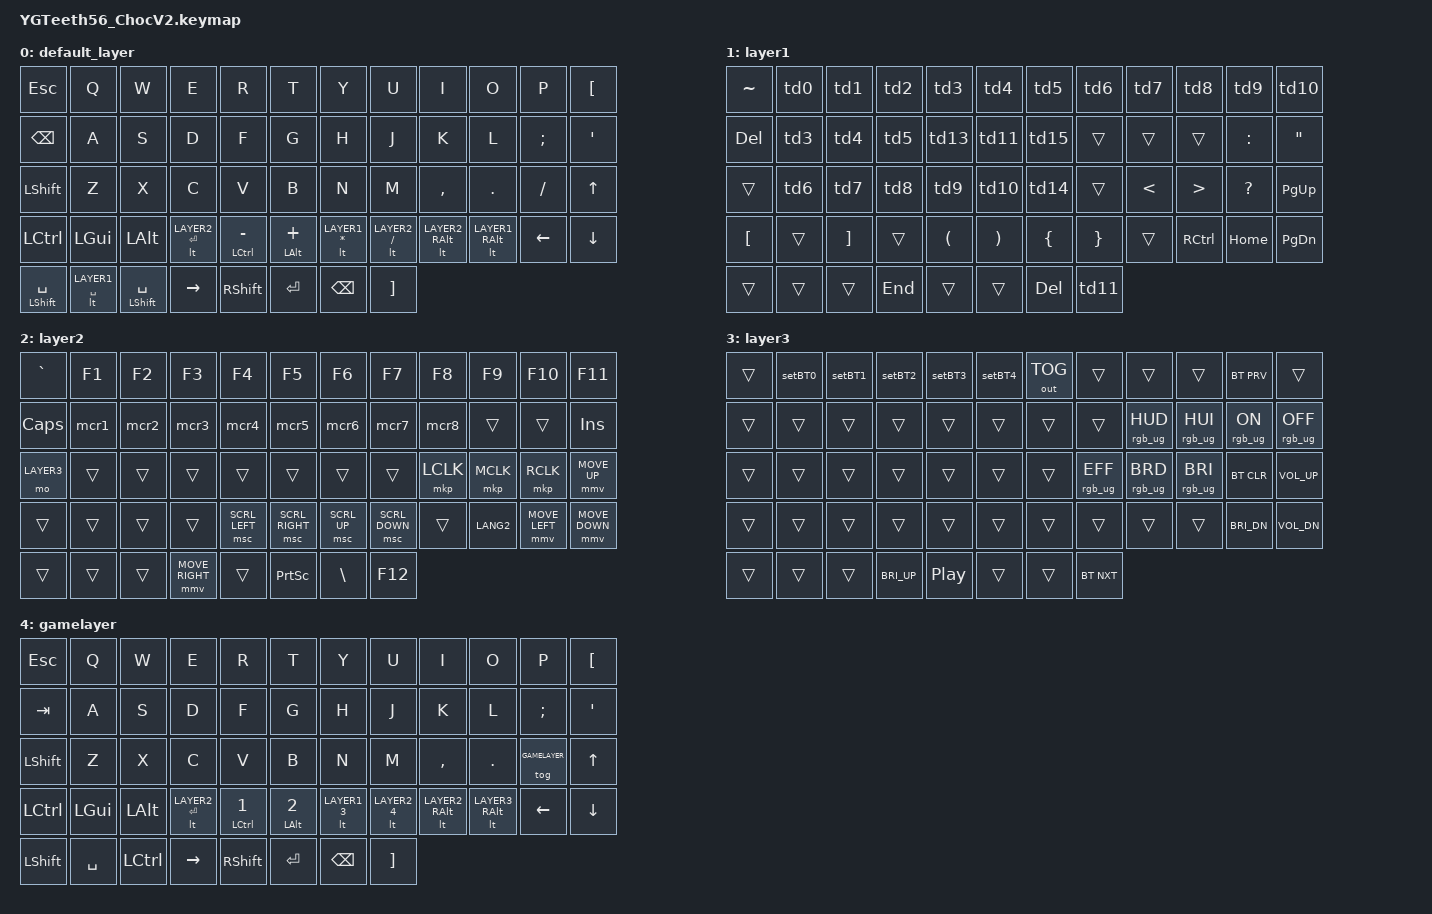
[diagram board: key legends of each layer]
/*
 * Copyright (c) 2020 The ZMK Contributors
 * SPDX-License-Identifier: MIT
pin matrix changed
 */

#include <behaviors.dtsi>
#include <dt-bindings/zmk/keys.h>
#include <dt-bindings/zmk/bt.h>
#include <dt-bindings/zmk/rgb.h>
#include <dt-bindings/zmk/outputs.h>
#include <dt-bindings/zmk/pointing.h>

#define DEFAULT_LAYER 0
#define LAYER1 1
#define LAYER2 2
#define LAYER3 3
#define GAMELAYER 4

#define ZMK_POINTING_DEFAULT_MOVE_VAL 1000  // default: 600
#define ZMK_POINTING_DEFAULT_SCRL_VAL 10    // default: 10

/ {

behaviors {
    lt: layer_tap {
        compatible = "zmk,behavior-hold-tap";
        quick-tap-ms = <185>;
        flavor = "balanced";
        };
};

behaviors {
        ht: hold_tap {
            compatible = "zmk,behavior-hold-tap";
            #binding-cells = <2>;
            tapping-term-ms = <200>;
            quick-tap-ms = <180>;
            require-prior-idle-ms = <150>;
            flavor = "balanced";
            bindings = <&kp>, <&kp>;
        };
    };

behaviors {
        htQck: hold_tap {
            compatible = "zmk,behavior-hold-tap";
            #binding-cells = <2>;
            tapping-term-ms = <150>;
            quick-tap-ms = <200>;
            require-prior-idle-ms = <130>;
            flavor = "balanced";
            bindings = <&kp>, <&kp>;
        };
    };

 behaviors {
        bhm: balanced_homerow_mods {
            compatible = "zmk,behavior-hold-tap";
            #binding-cells = <2>;
            tapping-term-ms = <200>;
            quick-tap-ms = <180>;
            flavor = "balanced";
            bindings = <&kp>, <&kp>;
        };
    };

 behaviors {
        bhmQck: balanced_homerow_mods {
            compatible = "zmk,behavior-hold-tap";
            #binding-cells = <2>;
            tapping-term-ms = <150>;
            quick-tap-ms = <185>;
            flavor = "balanced";
            bindings = <&kp>, <&kp>;
        };
    };

behaviors {
        td0: tap_dance_0 {
            compatible = "zmk,behavior-tap-dance";
            #binding-cells = <0>;
            tapping-term-ms = <220>;
            bindings = <&kp N1>, <&kp EXCL>;
            };
       };

behaviors {
        td1: tap_dance_1 {
            compatible = "zmk,behavior-tap-dance";
            #binding-cells = <0>;
            tapping-term-ms = <220>;
            bindings = <&kp N2>, <&kp AT>;
            };
       };

behaviors {
        td2: tap_dance_2 {
            compatible = "zmk,behavior-tap-dance";
            #binding-cells = <0>;
            tapping-term-ms = <220>;
            bindings = <&kp N3>, <&kp HASH>;
            };
       };

behaviors {
        td3: tap_dance_3 {
            compatible = "zmk,behavior-tap-dance";
            #binding-cells = <0>;
            tapping-term-ms = <220>;
            bindings = <&kp N4>, <&kp DLLR>;
            };
       };

behaviors {
        td4: tap_dance_4 {
            compatible = "zmk,behavior-tap-dance";
            #binding-cells = <0>;
            tapping-term-ms = <220>;
            bindings = <&kp N5>, <&kp PRCNT>;
            };
       };

behaviors {
        td5: tap_dance_5 {
            compatible = "zmk,behavior-tap-dance";
            #binding-cells = <0>;
            tapping-term-ms = <220>;
            bindings = <&kp N6>, <&kp CARET>;
            };
       };

behaviors {
        td6: tap_dance_6 {
            compatible = "zmk,behavior-tap-dance";
            #binding-cells = <0>;
            tapping-term-ms = <220>;
            bindings = <&kp N7>, <&kp AMPS>;
            };
       };

behaviors {
        td7: tap_dance_7 {
            compatible = "zmk,behavior-tap-dance";
            #binding-cells = <0>;
            tapping-term-ms = <220>;
            bindings = <&kp N8>, <&kp STAR>;
            };
       };

behaviors {
        td8: tap_dance_8 {
            compatible = "zmk,behavior-tap-dance";
            #binding-cells = <0>;
            tapping-term-ms = <220>;
            bindings = <&kp N9>, <&kp LPAR>;
            };
       };

behaviors {
        td9: tap_dance_9 {
            compatible = "zmk,behavior-tap-dance";
            #binding-cells = <0>;
            tapping-term-ms = <220>;
            bindings = <&kp N0>, <&kp RPAR>;
            };
       };

behaviors {
        td10: tap_dance_10 {
            compatible = "zmk,behavior-tap-dance";
            #binding-cells = <0>;
            tapping-term-ms = <220>;
            bindings = <&kp MINUS>, <&kp UNDER>;
            };
       };
behaviors {
        td11: tap_dance_11 {
            compatible = "zmk,behavior-tap-dance";
            #binding-cells = <0>;
            tapping-term-ms = <220>;
            bindings = <&kp PLUS>, <&kp EQUAL>;
            };
       };

behaviors {
        td12: tap_dance_12 {
            compatible = "zmk,behavior-tap-dance";
            #binding-cells = <0>;
            tapping-term-ms = <220>;
            bindings = <&kp ESC>, <&kp TILDE>, <&kp GRAVE>;
            };
       };

behaviors {
        td13: tap_dance_13 {
            compatible = "zmk,behavior-tap-dance";
            #binding-cells = <0>;
            tapping-term-ms = <220>;
            bindings = <&kp DOT>, <&kp COMMA>;
            };
       };

behaviors {
        td14: tap_dance_14 {
            compatible = "zmk,behavior-tap-dance";
            #binding-cells = <0>;
            tapping-term-ms = <220>;
            bindings = <&kp MINUS>, <&kp FSLH>;
            };

       };
behaviors {
        td15: tap_dance_15 {
            compatible = "zmk,behavior-tap-dance";
            #binding-cells = <0>;
            tapping-term-ms = <220>;
            bindings = <&kp PLUS>, <&kp STAR>;
            };
       };

behaviors {
        td16: tap_dance_16 {
            compatible = "zmk,behavior-tap-dance";
            #binding-cells = <0>;
            tapping-term-ms = <220>;
            bindings = <&kp UNDER>, <&kp LPAR>;
            };
       };

behaviors {
        td17: tap_dance_17 {
            compatible = "zmk,behavior-tap-dance";
            #binding-cells = <0>;
            tapping-term-ms = <220>;
            bindings = <&kp EQUAL>, <&kp RPAR>;
            };
       };

/*
conditional_layers {
        compatible = "zmk,conditional-layers";
        tri_layer {
            if-layers = <0 1>;
            then-layer = <4>;
        };
    };
*/

combos
{
        compatible = "zmk,combos";
        combo_tab {
            timeout-ms = <50>;
            key-positions = <0 12>;
            bindings = <&kp TAB>;
            };

         combo_tilde {
            timeout-ms = <50>;
            key-positions = <0 1>;
            bindings = <&kp TILDE>;
            };

        combo_1 {
            timeout-ms = <50>;
            key-positions = <1 13>;
            bindings = <&kp N1>;
            };

        combo_2 {
            timeout-ms = <50>;
            key-positions = <2 14>;
            bindings = <&kp N2>;
            };

        combo_3 {
            timeout-ms = <50>;
            key-positions = <3 15>;
            bindings = <&kp N3>;
            };

        combo_4 {
            timeout-ms = <50>;
            key-positions = <4 16>;
            bindings = <&kp N4>;
            };

        combo_5 {
            timeout-ms = <50>;
            key-positions = <5 17>;
            bindings = <&kp N5>;
            };

        combo_6 {
            timeout-ms = <50>;
            key-positions = <6 18>;
            bindings = <&kp N6>;
            };

        combo_7 {
            timeout-ms = <50>;
            key-positions = <7 19>;
            bindings = <&kp N7>;
            };

        combo_8 {
            timeout-ms = <50>;
            key-positions = <8 20>;
            bindings = <&kp N8>;
            };

        combo_9 {
            timeout-ms = <50>;
            key-positions = <9 21>;
            bindings = <&kp N9>;
            };

        combo_10 {
            timeout-ms = <50>;
            key-positions = <10 22>;
            bindings = <&kp N0>;
            };

         combo_11 {
            timeout-ms = <50>;
            key-positions = <11 23>;
            bindings = <&kp MINUS>;
            };

        combo_12 {
            timeout-ms = <50>;
            key-positions = <53 55>;
            bindings = <&kp EQUAL>;
            };

        combo_exc {
            timeout-ms = <50>;
            key-positions = <13 25>;
            bindings = <&kp EXCL>;
            };

        combo_at {
            timeout-ms = <50>;
            key-positions = <14 26>;
            bindings = <&kp AT>;
            };

       combo_hash {
            timeout-ms = <50>;
            key-positions = <15 27>;
            bindings = <&kp HASH>;
            };

        combo_dllr {
            timeout-ms = <50>;
            key-positions = <16 28>;
            bindings = <&kp DLLR>;
            };

        combo_prcnt {
            timeout-ms = <50>;
            key-positions = <17 29>;
            bindings = <&kp PRCNT>;
            };

        combo_caret {
            timeout-ms = <50>;
            key-positions = <18 30>;
            bindings = <&kp CARET>;
            };

        combo_amps {
            timeout-ms = <50>;
            key-positions = <19 31>;
            bindings = <&kp AMPS>;
            };

        combo_star {
            timeout-ms = <50>;
            key-positions = <20 32>;
            bindings = <&kp STAR>;
            };

        combo_lpar {
            timeout-ms = <50>;
            key-positions = <21 33>;
            bindings = <&kp LPAR>;
            };

        combo_rpar {
            timeout-ms = <50>;
            key-positions = <22 34>;
            bindings = <&kp RPAR>;
            };

        combo_minus {
            timeout-ms = <50>;
            key-positions = <23 35>;
            bindings = <&kp UNDER>;
            };

        combo_equal {
            timeout-ms = <50>;
            key-positions = <52 53>;
            bindings = <&kp PLUS>;
            };

        combo_equal2 {
            timeout-ms = <50>;
            key-positions = <42 43>;
            bindings = <&kp EQUAL>;
            };


        combo_gamemode {
            timeout-ms = <50>;
            key-positions = <0 36 54>;
            bindings = <&tog GAMELAYER>;
            };


        combo_TaskManager {
            timeout-ms = <50>;
            key-positions = <36 38 54>;
            bindings = <&mcrTaskManager>;
            };

}; //end combo

macros
{
      mcr1: mcr1
      {
            compatible = "zmk,behavior-macro";
            #binding-cells = <0>;
            bindings = <&macro_tap &kp H &kp E &kp L &kp L &kp O &kp N2 &kp K &kp U &kp N>;
      };

      mcr2: mcr2 
      {
            compatible = "zmk,behavior-macro";
            #binding-cells = <0>;
            bindings = <&macro_tap &kp B &kp A &kp B &kp O &kp N0 &kp N9 &kp N7 &kp N9>
                     , <&macro_press &kp LSHFT>
                     , <&macro_tap &kp N1 &kp N2>
                     , <&macro_release &kp LSHFT>;
      };

      mcr3: mcr3
      {
            compatible = "zmk,behavior-macro";
            #binding-cells = <0>;
            bindings
                = <&macro_tap &kp R &kp M &kp S &kp N0 &kp N9 &kp N7 &kp N9>
                , <&macro_press &kp LSHFT>
                , <&macro_tap &kp N1 &kp N2 &kp N3>
                , <&macro_release &kp LSHFT>;
      };

      mcr4: mcr4
      {
            compatible = "zmk,behavior-macro";
            #binding-cells = <0>;
            bindings
                = //<&macro_press &kp LSHFT>,
                //<&macro_tap &kp N2>,
                //<&macro_release &kp LSHFT>,

                <&macro_tap &kp LBKT>,

                <&macro_press &kp LSHFT>,
                <&macro_tap &kp T &kp A &kp SEMI>,
                <&macro_release &kp LSHFT>,

                <&macro_tap &kp RALT &kp Q &kp K &kp R &kp D &kp L &kp R &kp M &kp S &kp RBKT &kp SPACE>,

                <&macro_press &kp LSHFT>,
                <&macro_tap &kp N4>,
                <&macro_release &kp LSHFT>;
      };

        mcr5: mcr5
        {
            compatible = "zmk,behavior-macro";
            #binding-cells = <0>;
            bindings
                = <&macro_tap &kp AT &kp G &kp M &kp A &kp I &kp L &kp DOT &kp C &kp O &kp M>;
        };

        mcr6: mcr6
        {
            compatible = "zmk,behavior-macro";
            #binding-cells = <0>;
            bindings
                = <&macro_tap &kp AT &kp N &kp A &kp V &kp E &kp R &kp DOT &kp C &kp O &kp M>;
        };

        mcr7: mcr7
        {
            compatible = "zmk,behavior-macro";
            #binding-cells = <0>;
            bindings
                = <&macro_tap &kp AT &kp N &kp M &kp MINUS &kp N &kp E &kp X &kp U &kp S &kp DOT &kp C &kp O &kp M>;
        };

        mcr8: mcr8
        {
            compatible = "zmk,behavior-macro";
            #binding-cells = <0>;
            bindings
                = <&macro_tap &kp N0 &kp N8 &kp N1 &kp N6 &kp N8 &kp N1>;
        };

        setBT0: setBT0
        {
            compatible = "zmk,behavior-macro";
            #binding-cells = <0>;
            bindings
                = <&macro_tap &bt BT_SEL 0>
                , <&macro_tap &rgb_ug RGB_COLOR_HSB(0,100,100)>;
        };

        setBT1: setBT1
        {
            compatible = "zmk,behavior-macro";
            #binding-cells = <0>;
            bindings
                = <&macro_tap &bt BT_SEL 1>
                , <&macro_tap &rgb_ug RGB_COLOR_HSB(120,100,100)>;
        };

        setBT2: setBT2
        {
            compatible = "zmk,behavior-macro";
            #binding-cells = <0>;
            bindings
                = <&macro_tap &bt BT_SEL 2>
                , <&macro_tap &rgb_ug RGB_COLOR_HSB(240,100,100)>;
        };

        setBT3: setBT3
        {
            compatible = "zmk,behavior-macro";
            #binding-cells = <0>;
            bindings
                = <&macro_tap &bt BT_SEL 3>
                , <&macro_tap &rgb_ug RGB_COLOR_HSB(60,100,100)>;
        };

        setBT4: setBT4
        {
            compatible = "zmk,behavior-macro";
            #binding-cells = <0>;
            bindings
                = <&macro_tap &bt BT_SEL 4>
                , <&macro_tap &rgb_ug RGB_COLOR_HSB(180,100,100)>;
        };

        mcrTaskManager: mcrTaskManager
        {
            compatible = "zmk,behavior-macro";
            #binding-cells = <0>;
            bindings
                = <&macro_press &kp LCTRL &kp LALT &kp DEL>
                , <&macro_release &kp LCTRL &kp LALT &kp DEL>;
        };

}; // end macro


keymap 
{
compatible = "zmk,keymap";

    default_layer 
    {
    bindings = <
//C0                 C1                  C2                    C3             C4                  C5                C6                C7               C8               C9               C10        C11              
//&gresc             &td0                &td1                  &td2           &td3                &td4              &td5              &td6             &td7             &td8             &td9       &td10   
&kp ESC              &kp Q               &kp W                 &kp E          &kp R               &kp T             &kp Y             &kp U            &kp I            &kp O            &kp P      &kp LBKT    
&kp BSPC             &kp A               &kp S                 &kp D          &kp F               &kp G             &kp H             &kp J            &kp K            &kp L            &kp SEMI   &kp APOS   
&kp LSHFT            &kp Z               &kp X                 &kp C          &kp V               &kp B             &kp N             &kp M            &kp COMMA        &kp DOT          &kp FSLH   &kp UP     
&kp LCTRL            &kp LGUI            &kp LALT              &lt LAYER2 RET &bhmQck LCTRL MINUS &bhmQck LALT PLUS &lt LAYER1 STAR   &lt LAYER2 FSLH  &lt LAYER2 RALT  &lt LAYER1 RALT  &kp LEFT   &kp DOWN   
&htQck LSHIFT SPACE  &lt LAYER1 SPACE    &htQck LSHIFT SPACE   &kp RIGHT      &kp RSHFT           &kp RET           &kp BSPC          &kp RBKT
            >;
        };
// 
    layer1 
    {
    bindings = <
//C0        C1         C2        C3        C4         C5         C6         C7        C8            C9        C10        C11          
&kp TILDE   &td0       &td1      &td2      &td3       &td4       &td5       &td6      &td7          &td8      &td9       &td10 
&kp DEL     &td3       &td4      &td5      &td13      &td11      &td15      &trans    &trans        &trans    &kp COLON  &kp DQT
&trans      &td6       &td7      &td8      &td9       &td10      &td14      &trans    &kp LT        &kp GT    &kp QMARK  &kp PG_UP    
&kp LBKT    &trans     &kp RBKT  &trans    &kp LPAR   &kp RPAR   &kp LBRC   &kp RBRC  &trans        &kp RCTRL &kp HOME   &kp PG_DN 
&trans      &trans     &trans    &kp END   &trans     &trans     &kp DEL    &td11
            >;
        };

    layer2 
    {
    bindings = <
//C0       C1           C2        C3              C4             C5              C6           C7             C8          C9             C10              C11              
&kp GRAVE  &kp F1       &kp F2    &kp F3          &kp F4         &kp F5          &kp F6       &kp F7         &kp F8      &kp F9         &kp F10          &kp F11     
&kp CAPS   &mcr1        &mcr2     &mcr3           &mcr4          &mcr5           &mcr6        &mcr7          &mcr8       &trans         &trans           &kp INS 
&mo LAYER3 &trans       &trans    &trans          &trans         &trans          &trans       &trans         &mkp LCLK   &mkp MCLK      &mkp RCLK        &mmv MOVE_UP
&trans     &trans       &trans    &trans          &msc SCRL_LEFT &msc SCRL_RIGHT &msc SCRL_UP &msc SCRL_DOWN &trans      &kp LANG2      &mmv MOVE_LEFT   &mmv MOVE_DOWN 
&trans     &trans       &trans    &mmv MOVE_RIGHT &trans         &kp PSCRN       &kp BSLH     &kp F12
            >;
        }; //Layer2 end

    layer3 
    {
    bindings = <
//C0       C1        C2              C3           C4        C5        C6           C7              C8              C9              C10            C11              
&trans     &setBT0   &setBT1         &setBT2      &setBT3   &setBT4   &out OUT_TOG &trans          &trans          &trans          &bt BT_PRV     &trans  
&trans     &trans    &trans          &trans       &trans    &trans    &trans       &trans          &rgb_ug RGB_HUD &rgb_ug RGB_HUI &rgb_ug RGB_ON &rgb_ug RGB_OFF
&trans     &trans    &trans          &trans       &trans    &trans    &trans       &rgb_ug RGB_EFF &rgb_ug RGB_BRD &rgb_ug RGB_BRI &bt BT_CLR     &kp C_VOL_UP 
&trans     &trans    &trans          &trans       &trans    &trans    &trans       &trans          &trans          &trans          &kp C_BRI_DN   &kp C_VOL_DN 
&trans     &trans    &trans          &kp C_BRI_UP &kp C_PP  &trans     &trans      &bt BT_NXT
            >;
        }; //Layer3 end
        
gamelayer 
{
bindings =
<
//C0         C1          C2          C3              C4                C5              C6             C7            C8               C9               C10             C11               
&kp ESC      &kp Q       &kp W       &kp E           &kp R             &kp T           &kp Y          &kp U         &kp I            &kp O            &kp P           &kp LBKT    
&kp TAB      &kp A       &kp S       &kp D           &kp F             &kp G           &kp H          &kp J         &kp K            &kp L            &kp SEMI        &kp APOS   
&kp LSHFT    &kp Z       &kp X       &kp C           &kp V             &kp B           &kp N          &kp M         &kp COMMA        &kp DOT          &tog GAMELAYER  &kp UP     
&kp LCTRL    &kp LGUI    &kp LALT    &lt LAYER2 RET  &bhmQck LCTRL N1  &bhmQck LALT N2 &lt LAYER1 N3  &lt LAYER2 N4 &lt LAYER2 RALT  &lt LAYER3 RALT  &kp LEFT        &kp DOWN
&kp LSHIFT   &kp SPACE   &kp LCTRL   &kp RIGHT       &kp RSHFT         &kp RET        &kp BSPC        &kp RBKT
>;

}; //game layer end


    }; //Keymap End
}; 
